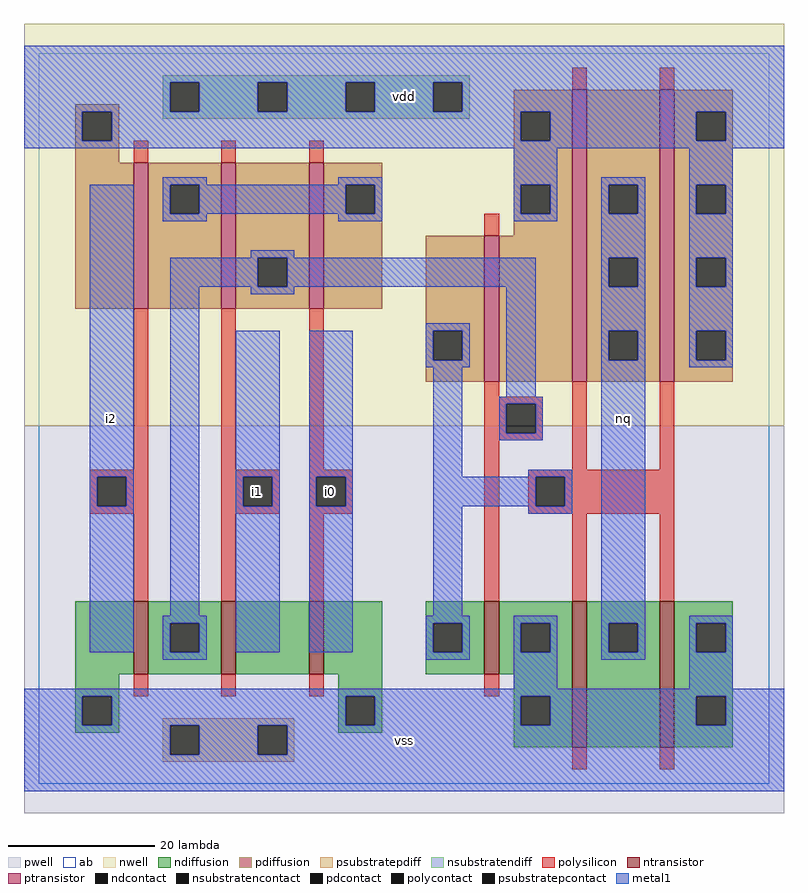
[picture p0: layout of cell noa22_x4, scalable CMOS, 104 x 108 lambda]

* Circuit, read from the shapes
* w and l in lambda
.subckt noa22_x4 i0 i1 i2 nq vdd vss
M1 n1 i2 vss vss nfet w=10 l=2
M2 n2 i1 n1 vss nfet w=10 l=2
M3 vss i0 n2 vss nfet w=10 l=2
M4 vss n1 n3 vss nfet w=10 l=2
M5 nq n3 vss vss nfet w=20 l=2 m=2
M6 n4 i2 vdd vdd pfet w=20 l=2
M7 n1 i1 n4 vdd pfet w=20 l=2
M8 n4 i0 n1 vdd pfet w=20 l=2
M9 vdd n1 n3 vdd pfet w=20 l=2
M10 nq n3 vdd vdd pfet w=40 l=2 m=2
.ends

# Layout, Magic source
magic
tech scmos
<< ab >>
rect 0 0 100 100
<< pwell >>
rect -2 -4 102 49
<< nwell >>
rect -2 49 102 104
<< polysilicon >>
rect 73 95 75 98
rect 85 95 87 98
rect 13 85 15 88
rect 25 85 27 88
rect 37 85 39 88
rect 61 75 63 78
rect 13 43 15 65
rect 7 42 15 43
rect 7 38 8 42
rect 12 38 15 42
rect 7 37 15 38
rect 13 25 15 37
rect 25 43 27 65
rect 37 43 39 65
rect 61 53 63 55
rect 61 52 69 53
rect 61 48 64 52
rect 68 48 69 52
rect 61 47 69 48
rect 25 42 33 43
rect 25 38 28 42
rect 32 38 33 42
rect 25 37 33 38
rect 37 42 43 43
rect 37 38 38 42
rect 42 38 43 42
rect 37 37 43 38
rect 25 25 27 37
rect 37 25 39 37
rect 61 25 63 47
rect 73 43 75 55
rect 85 43 87 55
rect 67 42 87 43
rect 67 38 68 42
rect 72 38 87 42
rect 67 37 87 38
rect 73 25 75 37
rect 85 25 87 37
rect 13 12 15 15
rect 25 12 27 15
rect 37 12 39 15
rect 61 12 63 15
rect 73 2 75 5
rect 85 2 87 5
<< ndiffusion >>
rect 5 15 13 25
rect 15 22 25 25
rect 15 18 18 22
rect 22 18 25 22
rect 15 15 25 18
rect 27 15 37 25
rect 39 15 47 25
rect 53 22 61 25
rect 53 18 54 22
rect 58 18 61 22
rect 53 15 61 18
rect 63 22 73 25
rect 63 18 66 22
rect 70 18 73 22
rect 63 15 73 18
rect 5 12 11 15
rect 41 12 47 15
rect 65 12 73 15
rect 5 8 6 12
rect 10 8 11 12
rect 5 7 11 8
rect 41 8 42 12
rect 46 8 47 12
rect 41 7 47 8
rect 65 8 66 12
rect 70 8 73 12
rect 65 5 73 8
rect 75 22 85 25
rect 75 18 78 22
rect 82 18 85 22
rect 75 5 85 18
rect 87 22 95 25
rect 87 18 90 22
rect 94 18 95 22
rect 87 12 95 18
rect 87 8 90 12
rect 94 8 95 12
rect 87 5 95 8
<< pdiffusion >>
rect 5 92 11 93
rect 5 88 6 92
rect 10 88 11 92
rect 65 92 73 95
rect 65 88 66 92
rect 70 88 73 92
rect 5 85 11 88
rect 5 65 13 85
rect 15 82 25 85
rect 15 78 18 82
rect 22 78 25 82
rect 15 65 25 78
rect 27 72 37 85
rect 27 68 30 72
rect 34 68 37 72
rect 27 65 37 68
rect 39 82 47 85
rect 39 78 42 82
rect 46 78 47 82
rect 65 82 73 88
rect 65 78 66 82
rect 70 78 73 82
rect 39 65 47 78
rect 65 75 73 78
rect 53 62 61 75
rect 53 58 54 62
rect 58 58 61 62
rect 53 55 61 58
rect 63 55 73 75
rect 75 82 85 95
rect 75 78 78 82
rect 82 78 85 82
rect 75 72 85 78
rect 75 68 78 72
rect 82 68 85 72
rect 75 62 85 68
rect 75 58 78 62
rect 82 58 85 62
rect 75 55 85 58
rect 87 92 95 95
rect 87 88 90 92
rect 94 88 95 92
rect 87 82 95 88
rect 87 78 90 82
rect 94 78 95 82
rect 87 72 95 78
rect 87 68 90 72
rect 94 68 95 72
rect 87 62 95 68
rect 87 58 90 62
rect 94 58 95 62
rect 87 55 95 58
<< metal1 >>
rect -2 96 102 101
rect -2 92 18 96
rect 22 92 30 96
rect 34 92 42 96
rect 46 92 54 96
rect 58 92 102 96
rect -2 88 6 92
rect 10 88 66 92
rect 70 88 90 92
rect 94 88 102 92
rect -2 87 102 88
rect 17 82 23 83
rect 41 82 47 83
rect 7 42 13 82
rect 17 78 18 82
rect 22 78 42 82
rect 46 78 47 82
rect 17 77 23 78
rect 41 77 47 78
rect 65 82 71 87
rect 65 78 66 82
rect 70 78 71 82
rect 65 77 71 78
rect 77 82 83 83
rect 77 78 78 82
rect 82 78 83 82
rect 29 72 35 73
rect 77 72 83 78
rect 7 38 8 42
rect 12 38 13 42
rect 7 18 13 38
rect 18 68 30 72
rect 34 68 68 72
rect 18 23 22 68
rect 29 67 35 68
rect 53 62 59 63
rect 27 42 33 62
rect 27 38 28 42
rect 32 38 33 42
rect 17 22 23 23
rect 17 18 18 22
rect 22 18 23 22
rect 27 18 33 38
rect 37 42 43 62
rect 53 58 54 62
rect 58 58 59 62
rect 53 57 59 58
rect 37 38 38 42
rect 42 38 43 42
rect 37 18 43 38
rect 54 42 58 57
rect 64 53 68 68
rect 77 68 78 72
rect 82 68 83 72
rect 77 62 83 68
rect 77 58 78 62
rect 82 58 83 62
rect 63 52 69 53
rect 63 48 64 52
rect 68 48 69 52
rect 63 47 69 48
rect 67 42 73 43
rect 54 38 68 42
rect 72 38 73 42
rect 54 23 58 38
rect 67 37 73 38
rect 53 22 59 23
rect 53 18 54 22
rect 58 18 59 22
rect 17 17 23 18
rect 53 17 59 18
rect 65 22 71 23
rect 65 18 66 22
rect 70 18 71 22
rect 65 13 71 18
rect 77 22 83 58
rect 89 82 95 87
rect 89 78 90 82
rect 94 78 95 82
rect 89 72 95 78
rect 89 68 90 72
rect 94 68 95 72
rect 89 62 95 68
rect 89 58 90 62
rect 94 58 95 62
rect 89 57 95 58
rect 77 18 78 22
rect 82 18 83 22
rect 77 17 83 18
rect 89 22 95 23
rect 89 18 90 22
rect 94 18 95 22
rect 89 13 95 18
rect -2 12 102 13
rect -2 8 6 12
rect 10 8 42 12
rect 46 8 66 12
rect 70 8 90 12
rect 94 8 102 12
rect -2 4 18 8
rect 22 4 30 8
rect 34 4 102 8
rect -2 -1 102 4
<< ntransistor >>
rect 13 15 15 25
rect 25 15 27 25
rect 37 15 39 25
rect 61 15 63 25
rect 73 5 75 25
rect 85 5 87 25
<< ptransistor >>
rect 13 65 15 85
rect 25 65 27 85
rect 37 65 39 85
rect 61 55 63 75
rect 73 55 75 95
rect 85 55 87 95
<< polycontact >>
rect 8 38 12 42
rect 64 48 68 52
rect 28 38 32 42
rect 38 38 42 42
rect 68 38 72 42
<< ndcontact >>
rect 18 18 22 22
rect 54 18 58 22
rect 66 18 70 22
rect 6 8 10 12
rect 42 8 46 12
rect 66 8 70 12
rect 78 18 82 22
rect 90 18 94 22
rect 90 8 94 12
<< pdcontact >>
rect 6 88 10 92
rect 66 88 70 92
rect 18 78 22 82
rect 30 68 34 72
rect 42 78 46 82
rect 66 78 70 82
rect 54 58 58 62
rect 78 78 82 82
rect 78 68 82 72
rect 78 58 82 62
rect 90 88 94 92
rect 90 78 94 82
rect 90 68 94 72
rect 90 58 94 62
<< psubstratepcontact >>
rect 18 4 22 8
rect 30 4 34 8
<< nsubstratencontact >>
rect 18 92 22 96
rect 30 92 34 96
rect 42 92 46 96
rect 54 92 58 96
<< psubstratepdiff >>
rect 17 8 35 9
rect 17 4 18 8
rect 22 4 30 8
rect 34 4 35 8
rect 17 3 35 4
<< nsubstratendiff >>
rect 17 96 59 97
rect 17 92 18 96
rect 22 92 30 96
rect 34 92 42 96
rect 46 92 54 96
rect 58 92 59 96
rect 17 91 59 92
<< labels >>
rlabel metal1 10 50 10 50 6 i2
rlabel metal1 10 50 10 50 6 i2
rlabel polycontact 30 40 30 40 6 i1
rlabel polycontact 40 40 40 40 6 i0
rlabel polycontact 40 40 40 40 6 i0
rlabel polycontact 30 40 30 40 6 i1
rlabel metal1 50 6 50 6 6 vss
rlabel metal1 50 6 50 6 6 vss
rlabel metal1 50 94 50 94 6 vdd
rlabel metal1 50 94 50 94 6 vdd
rlabel metal1 80 50 80 50 6 nq
rlabel metal1 80 50 80 50 6 nq
<< end >>
